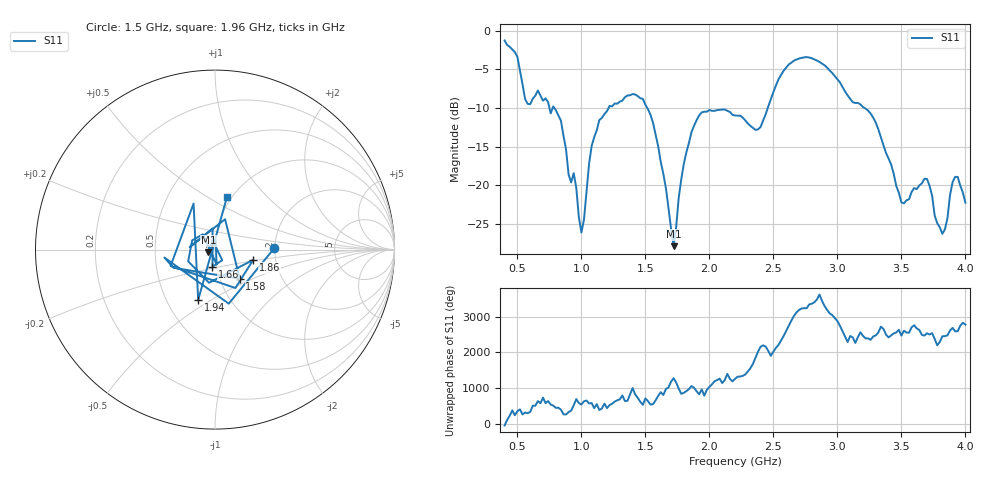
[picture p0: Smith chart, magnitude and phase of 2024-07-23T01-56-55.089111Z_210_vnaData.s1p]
!Created with skrf (http://scikit-rf.org).
# Hz S RI R 50.0
!freq ReS11 ImS11
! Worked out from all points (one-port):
!   181 points, 400 MHz to 4 GHz, reference 50 ohm
!   lowest |S11| = -27.9 dB at 1.72 GHz (marker M1), VSWR 1.08, Z = 46.4 - j1.47 ohm
!   |S11| at or under -10 dB: 788.3 MHz to 1.212 GHz (424 MHz wide, 42.4 % of centre); 1.515 GHz to 2.456 GHz (941.4 MHz wide, 47.4 % of centre); 3.212 GHz to end of sweep (the widest 3 of 4)
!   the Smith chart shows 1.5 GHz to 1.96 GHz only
!   S11 on the Smith chart (normalised r, x): 1.5 GHz: 1.99, +0.04; 1.58 GHz: 1.24, -0.42; 1.66 GHz: 0.96, -0.18; 1.86 GHz: 1.53, -0.18; 1.94 GHz: 0.72, -0.44; 1.96 GHz: 0.95, +0.61
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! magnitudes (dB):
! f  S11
! 400 MHz  -1.3
! 500 MHz  -3.4
! 580 MHz  -9.5
! 660 MHz  -7.7
! 860 MHz  -13.6
! 940 MHz  -18.4
! 1 GHz  -26.1
! 1.1 GHz  -13.8
! 1.3 GHz  -9.2
! 1.5 GHz  -9.6
! 1.58 GHz  -13.4
! 1.66 GHz  -20.4
! 1.72 GHz  -27.9
! 1.76 GHz  -21.6
! 1.86 GHz  -13.1
! 1.94 GHz  -10.6
! 1.96 GHz  -10.5
! 2.2 GHz  -11.0
! 2.38 GHz  -12.8
! 2.66 GHz  -3.9
! 3.1 GHz  -8.8
! 3.28 GHz  -11.3
! 3.5 GHz  -22.2
! 3.56 GHz  -21.8
! 3.7 GHz  -19.2
! 3.82 GHz  -26.3
! 3.92 GHz  -18.9
! 4 GHz  -22.2
